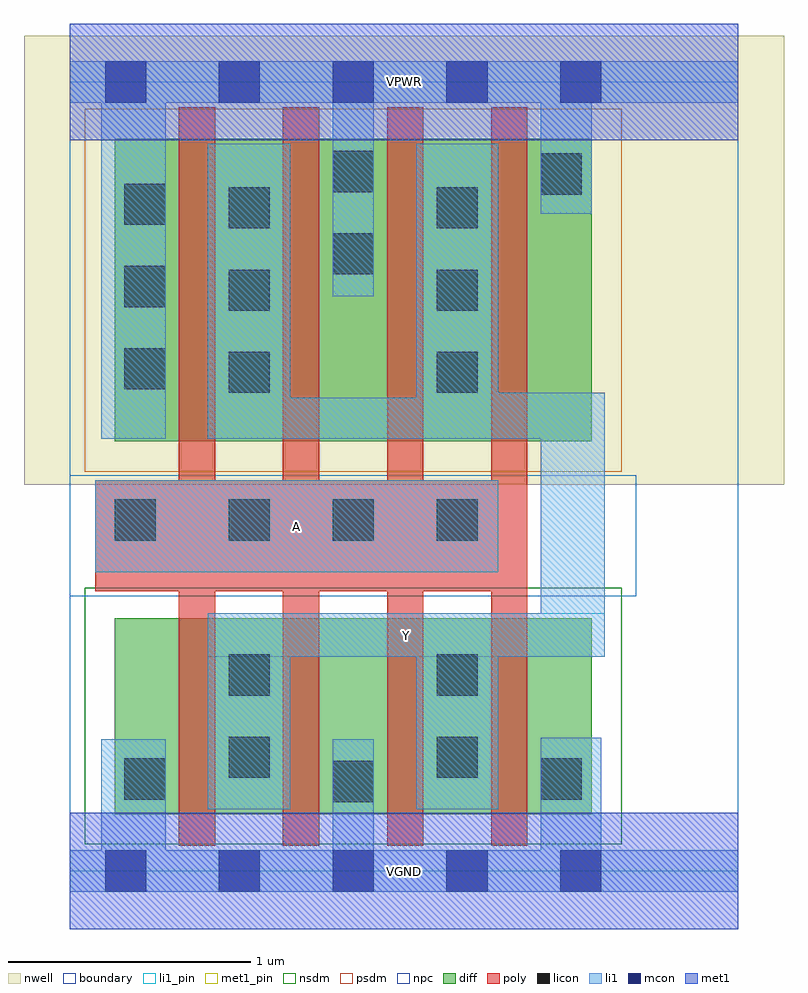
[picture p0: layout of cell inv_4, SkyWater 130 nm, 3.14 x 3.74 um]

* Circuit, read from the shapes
.subckt inv_4 A VGND VPWR Y
XM1 Y A VGND VSUBS sky130_fd_pr__nfet_01v8 w=0.81 l=0.15 m=4
XM2 Y A VPWR n1 sky130_fd_pr__pfet_01v8 w=1.25 l=0.15 m=4
.ends

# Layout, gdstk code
import gdstk
lib = gdstk.Library(unit=1e-6, precision=1e-09)
def R(c, l, rs):  # rectangles x0, y0, x1, y1
    for r in rs: c.add(gdstk.rectangle(r[:2], r[2:], *l))
def A(c, l, x, y, w, h, nx, ny, dx, dy):  # array of equal rectangles
    R(c, l, [(x+i*dx, y+j*dy, x+i*dx+w, y+j*dy+h) for i in range(nx) for j in range(ny)])
nwell = (64, 20)
diff = (65, 20)
poly = (66, 20)
licon = (66, 44)
li1_pin = (67, 16)
li1 = (67, 20)
mcon = (67, 44)
met1_pin = (68, 16)
met1 = (68, 20)
nsdm = (93, 44)
psdm = (94, 20)
npc = (95, 20)
boundary = (235, 4)

inv_4 = lib.new_cell('inv_4')
R(inv_4, nwell, [(-0.19,1.595,2.95,3.45), (0,1.595,2.76,3.45)])
R(inv_4, diff, [(0.185,0.235,2.155,1.045), (0.185,1.775,2.155,3.025)])
A(inv_4, poly, 0.45, 0.105, 0.15, 3.05, 4, 1, 0.43, 0)
R(inv_4, poly, [(0.105,1.155,1.89,1.615)])
A(inv_4, licon, 0.655, 1.365, 0.17, 0.17, 3, 1, 0.43, 0)
A(inv_4, licon, 0.655, 1.975, 0.17, 0.17, 1, 3, 0, 0.34)
A(inv_4, licon, 1.515, 1.975, 0.17, 0.17, 1, 3, 0, 0.34)
A(inv_4, licon, 0.225, 1.99, 0.17, 0.17, 1, 3, 0, 0.34)
R(inv_4, licon, [(1.085,0.285,1.255,0.455), (0.225,0.295,0.395,0.465), (1.945,0.295,2.115,0.465), (0.655,0.385,0.825,0.555), (1.515,0.385,1.685,0.555), (0.655,0.725,0.825,0.895), (1.515,0.725,1.685,0.895), (0.185,1.365,0.355,1.535), (1.085,2.465,1.255,2.635), (1.945,2.795,2.115,2.965), (1.085,2.805,1.255,2.975)])
R(inv_4, li1_pin, [(0.57,0.885,2.21,1.065), (0.105,1.235,1.77,1.615)])
R(inv_4, li1, [(0,-0.085,2.76,0.085), (0.13,-0.085,0.395,0.545), (1.085,-0.085,1.255,0.545), (1.945,-0.085,2.195,0.55), (0.57,0.255,0.91,1.065), (1.43,0.255,1.77,1.065), (0.57,0.885,2.21,1.065), (1.945,0.885,2.21,1.975), (0.105,1.235,1.77,1.615), (0.13,1.785,0.395,3.345), (0.57,1.785,0.91,3.005), (0.57,1.785,2.21,1.955), (1.43,1.785,1.77,3.005), (1.43,1.785,2.21,1.975), (1.085,2.375,1.255,3.345), (1.945,2.715,2.155,3.345), (0,3.175,2.76,3.345)])
A(inv_4, mcon, 0.145, -0.085, 0.17, 0.17, 5, 2, 0.47, 3.26)
R(inv_4, met1_pin, [(0,-0.24,2.76,0.24), (0,3.02,2.76,3.5)])
R(inv_4, met1, [(0,-0.24,2.76,0.24), (0,3.02,2.76,3.5)])
R(inv_4, nsdm, [(0.06,0.11,2.28,1.17)])
R(inv_4, psdm, [(0.06,1.65,2.28,3.15)])
R(inv_4, npc, [(0,1.135,2.34,1.635)])
R(inv_4, boundary, [(0,0,2.76,3.26)])
inv_4.add(gdstk.Label('A', (0.937,1.425), layer=67, texttype=5))
inv_4.add(gdstk.Label('Y', (1.39,0.975), layer=67, texttype=5))
inv_4.add(gdstk.Label('VPWR', (1.38,3.26), layer=68, texttype=5))
inv_4.add(gdstk.Label('VGND', (1.38,0), layer=68, texttype=5))
inv_4.add(gdstk.Label('A', (0.937,1.425), layer=67, texttype=16))
inv_4.add(gdstk.Label('Y', (1.39,0.975), layer=67, texttype=16))
inv_4.add(gdstk.Label('VPWR', (1.38,3.26), layer=68, texttype=16))
inv_4.add(gdstk.Label('VGND', (1.38,0), layer=68, texttype=16))

lib.write_gds('inv_4.gds')
